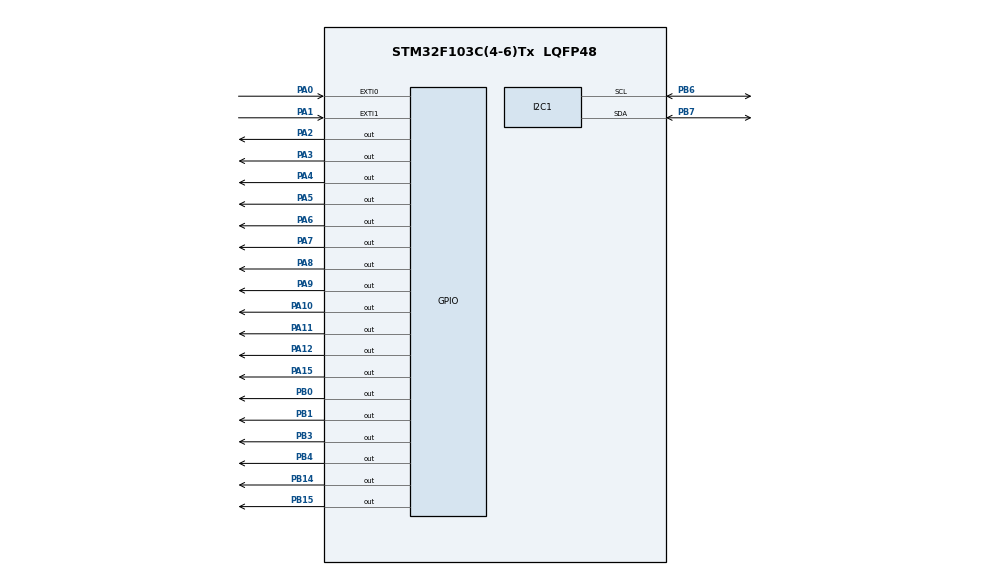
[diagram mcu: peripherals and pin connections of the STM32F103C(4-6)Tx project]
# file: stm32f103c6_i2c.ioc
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Mcu.Family=STM32F1
Mcu.Name=STM32F103C(4-6)Tx
Mcu.Package=LQFP48
NVIC.EXTI0_IRQn=true\:1\:0\:true\:false\:true\:true\:true\:true
NVIC.EXTI1_IRQn=true\:1\:0\:true\:false\:true\:true\:true\:true
NVIC.PriorityGroup=NVIC_PRIORITYGROUP_4
PA0-WKUP.Signal=GPXTI0
PA1.Signal=GPXTI1
PA10.Signal=GPIO_Output
PA11.Signal=GPIO_Output
PA12.Signal=GPIO_Output
PA13.Mode=Serial_Wire
PA13.Signal=SYS_JTMS-SWDIO
PA14.Mode=Serial_Wire
PA14.Signal=SYS_JTCK-SWCLK
PA15.Signal=GPIO_Output
PA2.Signal=GPIO_Output
PA3.Signal=GPIO_Output
PA4.Signal=GPIO_Output
PA5.Signal=GPIO_Output
PA6.Signal=GPIO_Output
PA7.Signal=GPIO_Output
PA8.Signal=GPIO_Output
PA9.Signal=GPIO_Output
PB0.Signal=GPIO_Output
PB1.Signal=GPIO_Output
PB14.Signal=GPIO_Output
PB15.Signal=GPIO_Output
PB3.Signal=GPIO_Output
PB4.Signal=GPIO_Output
PB6.Mode=I2C
PB6.Signal=I2C1_SCL
PB7.Mode=I2C
PB7.Signal=I2C1_SDA
PD0-OSC_IN.Mode=HSE-External-Oscillator
PD0-OSC_IN.Signal=RCC_OSC_IN
PD1-OSC_OUT.Mode=HSE-External-Oscillator
PD1-OSC_OUT.Signal=RCC_OSC_OUT
ProjectManager.HeapSize=0x200
ProjectManager.StackSize=0x400
ProjectManager.TargetToolchain=MDK-ARM V5
RCC.APB1Freq_Value=8000000
RCC.APB2Freq_Value=8000000
board=custom

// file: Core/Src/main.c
/* USER CODE BEGIN Header */
/**
  ******************************************************************************
  * @file           : main.c
  * @brief          : Main program body
  ******************************************************************************
  * @attention
  *
  * Copyright (c) 2024 STMicroelectronics.
  * All rights reserved.
  *
  * This software is licensed under terms that can be found in the LICENSE file
  * in the root directory of this software component.
  * If no LICENSE file comes with this software, it is provided AS-IS.
  *
  ******************************************************************************
  */
/* USER CODE END Header */
#include "main.h"
#include "stdio.h"
#include "lcd.h"

I2C_HandleTypeDef hi2c1;

/* USER CODE BEGIN PV */
//void Lcd_Write_Command(char maLenh);
//void Lcd_Wrtie_Data(char data);
//void Lcd_Cauhinh(void);
//void Lcd_Write_String(char *str);
/* USER CODE END PV */

void SystemClock_Config(void);
static void MX_GPIO_Init(void);
static void MX_I2C1_Init(void);
/* USER CODE BEGIN PFP */
int status = 0;
void display7Seg(int data);

int counter1;
int counter2;
enum ledColor{
	GREEN,
	YELLOW,
	RED
};
void sleep(){
	//turn off led 7
	HAL_GPIO_WritePin(GPIOB, GPIO_PIN_15, GPIO_PIN_RESET);
	HAL_GPIO_WritePin(GPIOB, GPIO_PIN_14, GPIO_PIN_RESET);
	HAL_GPIO_WritePin(GPIOB, GPIO_PIN_1, GPIO_PIN_RESET);
	HAL_GPIO_WritePin(GPIOB, GPIO_PIN_0, GPIO_PIN_RESET);
	while(1){

	//led yellow blink 1HZ
	HAL_GPIO_WritePin(GPIOA, GPIO_PIN_7, GPIO_PIN_RESET);//R1
	HAL_GPIO_WritePin(GPIOA, GPIO_PIN_6, GPIO_PIN_RESET);//Y1
	HAL_GPIO_WritePin(GPIOA, GPIO_PIN_5, GPIO_PIN_RESET);//G1
	HAL_GPIO_WritePin(GPIOA, GPIO_PIN_4, GPIO_PIN_RESET);//R2
	HAL_GPIO_WritePin(GPIOA, GPIO_PIN_3, GPIO_PIN_RESET);//Y2
	HAL_GPIO_WritePin(GPIOA, GPIO_PIN_2, GPIO_PIN_RESET);//G2
	HAL_Delay(500);
	HAL_GPIO_WritePin(GPIOA, GPIO_PIN_6, GPIO_PIN_SET);//Y1
	HAL_GPIO_WritePin(GPIOA, GPIO_PIN_3, GPIO_PIN_SET);//Y2
	HAL_Delay(500);
	}

}

void show_traffic(uint8_t BacK_Green1, uint8_t BacK_Yellow1,
	uint8_t BacK_Green2, uint8_t BacK_Yellow2){

	//set status led beginning
	uint8_t c_Green1 = BacK_Green1;
	uint8_t c_Yellow1 = BacK_Yellow1;
	uint8_t c_Red1 = BacK_Green1 + BacK_Yellow1;
	uint8_t BacK_Red1 = c_Red1;
	enum ledColor cur_color1 = GREEN;

	uint8_t c_Green2 = BacK_Green2;
	uint8_t c_Yellow2 = BacK_Yellow2;
	uint8_t c_Red2 = BacK_Green2 + BacK_Yellow2;
	uint8_t BacK_Red2 = c_Red2;
	enum ledColor cur_color2 = RED;

	uint8_t c_1s = BacK_Green1 + BacK_Red2 + 2;

	counter1 = BacK_Green1 - 1;
	counter2 = BacK_Red2 - 1;

	int sw_led = 0;

	HAL_GPIO_WritePin(GPIOA, GPIO_PIN_7, GPIO_PIN_RESET);//R1
	HAL_GPIO_WritePin(GPIOA, GPIO_PIN_5, GPIO_PIN_SET);//G1
	HAL_GPIO_WritePin(GPIOA, GPIO_PIN_6, GPIO_PIN_RESET);//Y1

	HAL_GPIO_WritePin(GPIOA, GPIO_PIN_4, GPIO_PIN_SET);//R2
	HAL_GPIO_WritePin(GPIOA, GPIO_PIN_2, GPIO_PIN_RESET);//G2
	HAL_GPIO_WritePin(GPIOA, GPIO_PIN_3, GPIO_PIN_RESET);//Y2

	while(1){
		//if(*sleep_mode == 22) break;
		//change green -> yellow
		if(c_Green1 <= 0){
			HAL_GPIO_WritePin(GPIOA, GPIO_PIN_7, GPIO_PIN_RESET);
			HAL_GPIO_WritePin(GPIOA, GPIO_PIN_5, GPIO_PIN_RESET);
			HAL_GPIO_WritePin(GPIOA, GPIO_PIN_6, GPIO_PIN_SET);
			c_Green1 = BacK_Green1;
			cur_color1 = YELLOW;
			counter1 = BacK_Yellow1 - 1;
		}
		//change yellow -> red
		if(c_Yellow1 <= 0){
			HAL_GPIO_WritePin(GPIOA, GPIO_PIN_7, GPIO_PIN_SET);
			HAL_GPIO_WritePin(GPIOA, GPIO_PIN_5, GPIO_PIN_RESET);
			HAL_GPIO_WritePin(GPIOA, GPIO_PIN_6, GPIO_PIN_RESET);
			c_Yellow1 = BacK_Yellow1;
			cur_color1 = RED;
			counter1 = BacK_Red1 - 1;
		}
		//change red -> green
		if(c_Red1 <= 0){
			HAL_GPIO_WritePin(GPIOA, GPIO_PIN_7, GPIO_PIN_RESET);
			HAL_GPIO_WritePin(GPIOA, GPIO_PIN_5, GPIO_PIN_SET);
			HAL_GPIO_WritePin(GPIOA, GPIO_PIN_6, GPIO_PIN_RESET);
			c_Red1 = BacK_Green1 + BacK_Yellow1;
			cur_color1 = GREEN;
			counter1 = BacK_Green1 - 1;
		}
		//Same as above
		if(c_Green2 <= 0){
			HAL_GPIO_WritePin(GPIOA, GPIO_PIN_4, GPIO_PIN_RESET);
			HAL_GPIO_WritePin(GPIOA, GPIO_PIN_2, GPIO_PIN_RESET);
			HAL_GPIO_WritePin(GPIOA, GPIO_PIN_3, GPIO_PIN_SET);
			c_Green2 = BacK_Green2 - 1;
			cur_color2 = YELLOW;
			counter2 = BacK_Yellow2 - 1;
		}
		if(c_Yellow2 <= 0){
			HAL_GPIO_WritePin(GPIOA, GPIO_PIN_4, GPIO_PIN_SET);
			HAL_GPIO_WritePin(GPIOA, GPIO_PIN_2, GPIO_PIN_RESET);
			HAL_GPIO_WritePin(GPIOA, GPIO_PIN_3, GPIO_PIN_RESET);
			c_Yellow2 =BacK_Yellow1 - 1;
			cur_color2 = RED;
			counter2 = BacK_Red2 - 1;
		}
		if(c_Red2 <= 0){
			HAL_GPIO_WritePin(GPIOA, GPIO_PIN_4, GPIO_PIN_RESET);
			HAL_GPIO_WritePin(GPIOA, GPIO_PIN_2, GPIO_PIN_SET);
			HAL_GPIO_WritePin(GPIOA, GPIO_PIN_3, GPIO_PIN_RESET);
			c_Red2 = BacK_Green2 + BacK_Yellow2;
			cur_color2 = GREEN;
			counter2 = BacK_Green2 - 1;
		}
		//count again when timer = 0
		if(c_1s <= 0){
			switch(cur_color1){
				case GREEN:
						c_Green1--;
						break;
				case YELLOW:
						c_Yellow1--;
						break;
				case RED:
						c_Red1--;
						break;
			}
			switch(cur_color2){
				case GREEN:
						c_Green2--;
						break;
				case YELLOW:
						c_Yellow2--;
						break;
				case RED:
						c_Red2--;
						break;
			}
			counter1--;
			counter2--;
			c_1s = BacK_Green1 + BacK_Red2 + 2;
		}
		//show time on led7
		switch(sw_led){
			case 0:
				HAL_GPIO_WritePin(GPIOB, GPIO_PIN_15, GPIO_PIN_RESET);//EN3
				HAL_GPIO_WritePin(GPIOB, GPIO_PIN_0, GPIO_PIN_SET);//EN0
				display7Seg(counter1/10);
				sw_led = 1;
				break;
			case 1:
				HAL_GPIO_WritePin(GPIOB, GPIO_PIN_0, GPIO_PIN_RESET);//EN0
				HAL_GPIO_WritePin(GPIOB, GPIO_PIN_1, GPIO_PIN_SET);//EN1
				display7Seg(counter1%10);
				sw_led = 2;
				break;
			case 2:
				HAL_GPIO_WritePin(GPIOB, GPIO_PIN_1, GPIO_PIN_RESET);//EN1
				HAL_GPIO_WritePin(GPIOB, GPIO_PIN_14, GPIO_PIN_SET);//EN2
				display7Seg(counter2/10);
				sw_led = 3;
				break;
			case 3:
				HAL_GPIO_WritePin(GPIOB, GPIO_PIN_14, GPIO_PIN_RESET);//EN2
				HAL_GPIO_WritePin(GPIOB, GPIO_PIN_15, GPIO_PIN_SET);//EN3
				display7Seg(counter2%10);
				sw_led = 0;
				break;
		}
		//minus 1 unit time
		c_1s--;
		HAL_Delay(5);
  }
	}

//awake external interrupt
void HAL_GPIO_EXTI_Callback(uint16_t GPIO_Pin)
{
  if(GPIO_Pin == GPIO_PIN_0)//mode Sleep
		{
		status = 0;
		lcd_put_cur(0, 0);
		lcd_send_string("Mode: Sleep                ");
		//HAL_Delay(10);
		lcd_put_cur(1, 0);
		lcd_send_string("Yellow blink 1HZ             ");
		sleep();
	}
	else if(GPIO_Pin == GPIO_PIN_1)//mode rush hour
		{
		status = 1;
		lcd_put_cur(0, 0);
		lcd_send_string("Mode: Rush                ");
		//HAL_Delay(10);
		lcd_put_cur(1, 0);
		lcd_send_string("R:36s G:32s Y:4s              ");
		show_traffic(32, 4, 32, 4);
	}
}

/* USER CODE END PFP */

int main(void)
{

  /* MCU Configuration--------------------------------------------------------*/

  /* Reset of all peripherals, Initializes the Flash interface and the Systick. */
  HAL_Init();

  /* Configure the system clock */
  SystemClock_Config();

  /* Initialize all configured peripherals */
  MX_GPIO_Init();
  MX_I2C1_Init();
  /* USER CODE BEGIN 2 */
	lcd_init();
	//mode normal
	lcd_put_cur(0, 0);
	lcd_send_string("Mode: Normal              ");
	//HAL_Delay(10);
	lcd_put_cur(1, 0);
	lcd_send_string("R:32s G:28s Y:4s          ");
	show_traffic(28, 4, 28, 4);
  /* USER CODE END 2 */

  /* Infinite loop */
  while (1)
  {

  }
}

//function show led7 0 -> 9
void display7Seg(int data){
	switch (data)
	{
		case 0:
			HAL_GPIO_WritePin(GPIOA, GPIO_PIN_8, GPIO_PIN_RESET);
			HAL_GPIO_WritePin(GPIOA, GPIO_PIN_9, GPIO_PIN_RESET);
			HAL_GPIO_WritePin(GPIOA, GPIO_PIN_10, GPIO_PIN_RESET);
			HAL_GPIO_WritePin(GPIOA, GPIO_PIN_11, GPIO_PIN_RESET);
			HAL_GPIO_WritePin(GPIOA, GPIO_PIN_12, GPIO_PIN_RESET);
			HAL_GPIO_WritePin(GPIOA, GPIO_PIN_15, GPIO_PIN_RESET);
			HAL_GPIO_WritePin(GPIOB, GPIO_PIN_3, GPIO_PIN_SET);
			HAL_GPIO_WritePin(GPIOB, GPIO_PIN_4, GPIO_PIN_SET);
			break;
		case 1:
			HAL_GPIO_WritePin(GPIOA, GPIO_PIN_8, GPIO_PIN_SET);
			HAL_GPIO_WritePin(GPIOA, GPIO_PIN_9, GPIO_PIN_RESET);
			HAL_GPIO_WritePin(GPIOA, GPIO_PIN_10, GPIO_PIN_RESET);
			HAL_GPIO_WritePin(GPIOA, GPIO_PIN_11, GPIO_PIN_SET);
			HAL_GPIO_WritePin(GPIOA, GPIO_PIN_12, GPIO_PIN_SET);
			HAL_GPIO_WritePin(GPIOA, GPIO_PIN_15, GPIO_PIN_SET);
			HAL_GPIO_WritePin(GPIOB, GPIO_PIN_3, GPIO_PIN_SET);
			HAL_GPIO_WritePin(GPIOB, GPIO_PIN_4, GPIO_PIN_SET);
			break;
		case 2:
			HAL_GPIO_WritePin(GPIOA, GPIO_PIN_8, GPIO_PIN_RESET);
			HAL_GPIO_WritePin(GPIOA, GPIO_PIN_9, GPIO_PIN_RESET);
			HAL_GPIO_WritePin(GPIOA, GPIO_PIN_10, GPIO_PIN_SET);
			HAL_GPIO_WritePin(GPIOA, GPIO_PIN_11, GPIO_PIN_RESET);
			HAL_GPIO_WritePin(GPIOA, GPIO_PIN_12, GPIO_PIN_RESET);
			HAL_GPIO_WritePin(GPIOA, GPIO_PIN_15, GPIO_PIN_SET);
			HAL_GPIO_WritePin(GPIOB, GPIO_PIN_3, GPIO_PIN_RESET);
			HAL_GPIO_WritePin(GPIOB, GPIO_PIN_4, GPIO_PIN_SET);
			break;
		case 3:
			HAL_GPIO_WritePin(GPIOA, GPIO_PIN_8, GPIO_PIN_RESET);
			HAL_GPIO_WritePin(GPIOA, GPIO_PIN_9, GPIO_PIN_RESET);
			HAL_GPIO_WritePin(GPIOA, GPIO_PIN_10, GPIO_PIN_RESET);
			HAL_GPIO_WritePin(GPIOA, GPIO_PIN_11, GPIO_PIN_RESET);
			HAL_GPIO_WritePin(GPIOA, GPIO_PIN_12, GPIO_PIN_SET);
			HAL_GPIO_WritePin(GPIOA, GPIO_PIN_15, GPIO_PIN_SET);
			HAL_GPIO_WritePin(GPIOB, GPIO_PIN_3, GPIO_PIN_RESET);
		  HAL_GPIO_WritePin(GPIOB, GPIO_PIN_4, GPIO_PIN_SET);
			break;
		case 4:
			HAL_GPIO_WritePin(GPIOA, GPIO_PIN_8, GPIO_PIN_SET);
			HAL_GPIO_WritePin(GPIOA, GPIO_PIN_9, GPIO_PIN_RESET);
			HAL_GPIO_WritePin(GPIOA, GPIO_PIN_10, GPIO_PIN_RESET);
			HAL_GPIO_WritePin(GPIOA, GPIO_PIN_11, GPIO_PIN_SET);
			HAL_GPIO_WritePin(GPIOA, GPIO_PIN_12, GPIO_PIN_SET);
			HAL_GPIO_WritePin(GPIOA, GPIO_PIN_15, GPIO_PIN_RESET);
			HAL_GPIO_WritePin(GPIOB, GPIO_PIN_3, GPIO_PIN_RESET);
			HAL_GPIO_WritePin(GPIOB, GPIO_PIN_4, GPIO_PIN_SET);
			break;
		case 5:
			HAL_GPIO_WritePin(GPIOA, GPIO_PIN_8, GPIO_PIN_RESET);
			HAL_GPIO_WritePin(GPIOA, GPIO_PIN_9, GPIO_PIN_SET);
			HAL_GPIO_WritePin(GPIOA, GPIO_PIN_10, GPIO_PIN_RESET);
			HAL_GPIO_WritePin(GPIOA, GPIO_PIN_11, GPIO_PIN_RESET);
			HAL_GPIO_WritePin(GPIOA, GPIO_PIN_12, GPIO_PIN_SET);
			HAL_GPIO_WritePin(GPIOA, GPIO_PIN_15, GPIO_PIN_RESET);
			HAL_GPIO_WritePin(GPIOB, GPIO_PIN_3, GPIO_PIN_RESET);
			HAL_GPIO_WritePin(GPIOB, GPIO_PIN_4, GPIO_PIN_SET);
			break;
		case 6:
			HAL_GPIO_WritePin(GPIOA, GPIO_PIN_8, GPIO_PIN_RESET);
			HAL_GPIO_WritePin(GPIOA, GPIO_PIN_9, GPIO_PIN_SET);
			HAL_GPIO_WritePin(GPIOA, GPIO_PIN_10, GPIO_PIN_RESET);
			HAL_GPIO_WritePin(GPIOA, GPIO_PIN_11, GPIO_PIN_RESET);
			HAL_GPIO_WritePin(GPIOA, GPIO_PIN_12, GPIO_PIN_RESET);
			HAL_GPIO_WritePin(GPIOA, GPIO_PIN_15, GPIO_PIN_RESET);
			HAL_GPIO_WritePin(GPIOB, GPIO_PIN_3, GPIO_PIN_RESET);
			HAL_GPIO_WritePin(GPIOB, GPIO_PIN_4, GPIO_PIN_SET);
			break;
	 case 7:
			HAL_GPIO_WritePin(GPIOA, GPIO_PIN_8, GPIO_PIN_RESET);
			HAL_GPIO_WritePin(GPIOA, GPIO_PIN_9, GPIO_PIN_RESET);
			HAL_GPIO_WritePin(GPIOA, GPIO_PIN_10, GPIO_PIN_RESET);
			HAL_GPIO_WritePin(GPIOA, GPIO_PIN_11, GPIO_PIN_SET);
			HAL_GPIO_WritePin(GPIOA, GPIO_PIN_12, GPIO_PIN_SET);
			HAL_GPIO_WritePin(GPIOA, GPIO_PIN_15, GPIO_PIN_SET);
			HAL_GPIO_WritePin(GPIOB, GPIO_PIN_3, GPIO_PIN_SET);
			HAL_GPIO_WritePin(GPIOB, GPIO_PIN_4, GPIO_PIN_SET);
			break;
		case 8:
			HAL_GPIO_WritePin(GPIOA, GPIO_PIN_8, GPIO_PIN_RESET);
			HAL_GPIO_WritePin(GPIOA, GPIO_PIN_9, GPIO_PIN_RESET);
			HAL_GPIO_WritePin(GPIOA, GPIO_PIN_10, GPIO_PIN_RESET);
			HAL_GPIO_WritePin(GPIOA, GPIO_PIN_11, GPIO_PIN_RESET);
			HAL_GPIO_WritePin(GPIOA, GPIO_PIN_12, GPIO_PIN_RESET);
			HAL_GPIO_WritePin(GPIOA, GPIO_PIN_15, GPIO_PIN_RESET);
			HAL_GPIO_WritePin(GPIOB, GPIO_PIN_3, GPIO_PIN_RESET);
			HAL_GPIO_WritePin(GPIOB, GPIO_PIN_4, GPIO_PIN_SET);
			break;
		case 9:
			HAL_GPIO_WritePin(GPIOA, GPIO_PIN_8, GPIO_PIN_RESET);
			HAL_GPIO_WritePin(GPIOA, GPIO_PIN_9, GPIO_PIN_RESET);
			HAL_GPIO_WritePin(GPIOA, GPIO_PIN_10, GPIO_PIN_RESET);
			HAL_GPIO_WritePin(GPIOA, GPIO_PIN_11, GPIO_PIN_RESET);
			HAL_GPIO_WritePin(GPIOA, GPIO_PIN_12, GPIO_PIN_SET);
			HAL_GPIO_WritePin(GPIOA, GPIO_PIN_15, GPIO_PIN_RESET);
			HAL_GPIO_WritePin(GPIOB, GPIO_PIN_3, GPIO_PIN_RESET);
			HAL_GPIO_WritePin(GPIOB, GPIO_PIN_4, GPIO_PIN_SET);
			break;
	}
}
void SystemClock_Config(void)
{
  RCC_OscInitTypeDef RCC_OscInitStruct = {0};
  RCC_ClkInitTypeDef RCC_ClkInitStruct = {0};

  /** Initializes the RCC Oscillators according to the specified parameters
  * in the RCC_OscInitTypeDef structure.
  */
  RCC_OscInitStruct.OscillatorType = RCC_OSCILLATORTYPE_HSI;
  RCC_OscInitStruct.HSIState = RCC_HSI_ON;
  RCC_OscInitStruct.HSICalibrationValue = RCC_HSICALIBRATION_DEFAULT;
  RCC_OscInitStruct.PLL.PLLState = RCC_PLL_NONE;
  if (HAL_RCC_OscConfig(&RCC_OscInitStruct) != HAL_OK)
  {
    Error_Handler();
  }

  /** Initializes the CPU, AHB and APB buses clocks
  */
  RCC_ClkInitStruct.ClockType = RCC_CLOCKTYPE_HCLK|RCC_CLOCKTYPE_SYSCLK
                              |RCC_CLOCKTYPE_PCLK1|RCC_CLOCKTYPE_PCLK2;
  RCC_ClkInitStruct.SYSCLKSource = RCC_SYSCLKSOURCE_HSI;
  RCC_ClkInitStruct.AHBCLKDivider = RCC_SYSCLK_DIV1;
  RCC_ClkInitStruct.APB1CLKDivider = RCC_HCLK_DIV1;
  RCC_ClkInitStruct.APB2CLKDivider = RCC_HCLK_DIV1;

  if (HAL_RCC_ClockConfig(&RCC_ClkInitStruct, FLASH_LATENCY_0) != HAL_OK)
  {
    Error_Handler();
  }
}

static void MX_I2C1_Init(void)
{

  hi2c1.Instance = I2C1;
  hi2c1.Init.ClockSpeed = 100000;
  hi2c1.Init.DutyCycle = I2C_DUTYCYCLE_2;
  hi2c1.Init.OwnAddress1 = 0;
  hi2c1.Init.AddressingMode = I2C_ADDRESSINGMODE_7BIT;
  hi2c1.Init.DualAddressMode = I2C_DUALADDRESS_DISABLE;
  hi2c1.Init.OwnAddress2 = 0;
  hi2c1.Init.GeneralCallMode = I2C_GENERALCALL_DISABLE;
  hi2c1.Init.NoStretchMode = I2C_NOSTRETCH_DISABLE;
  if (HAL_I2C_Init(&hi2c1) != HAL_OK)
  {
    Error_Handler();
  }

}

static void MX_GPIO_Init(void)
{
  GPIO_InitTypeDef GPIO_InitStruct = {0};

  /* GPIO Ports Clock Enable */
  __HAL_RCC_GPIOD_CLK_ENABLE();
  __HAL_RCC_GPIOA_CLK_ENABLE();
  __HAL_RCC_GPIOB_CLK_ENABLE();

  /*Configure GPIO pin Output Level */
  HAL_GPIO_WritePin(GPIOA, GPIO_PIN_2|GPIO_PIN_3|GPIO_PIN_4|GPIO_PIN_5
                          |GPIO_PIN_6|GPIO_PIN_7|GPIO_PIN_8|GPIO_PIN_9
                          |GPIO_PIN_10|GPIO_PIN_11|GPIO_PIN_12|GPIO_PIN_15, GPIO_PIN_RESET);

  /*Configure GPIO pin Output Level */
  HAL_GPIO_WritePin(GPIOB, GPIO_PIN_0|GPIO_PIN_1|GPIO_PIN_14|GPIO_PIN_15
                          |GPIO_PIN_3|GPIO_PIN_4, GPIO_PIN_RESET);

  /*Configure GPIO pins : PA0 PA1 */
  GPIO_InitStruct.Pin = GPIO_PIN_0|GPIO_PIN_1;
  GPIO_InitStruct.Mode = GPIO_MODE_IT_RISING;
  GPIO_InitStruct.Pull = GPIO_NOPULL;
  HAL_GPIO_Init(GPIOA, &GPIO_InitStruct);

  /*Configure GPIO pins : PA2 PA3 PA4 PA5
                           PA6 PA7 PA8 PA9
                           PA10 PA11 PA12 PA15 */
  GPIO_InitStruct.Pin = GPIO_PIN_2|GPIO_PIN_3|GPIO_PIN_4|GPIO_PIN_5
                          |GPIO_PIN_6|GPIO_PIN_7|GPIO_PIN_8|GPIO_PIN_9
                          |GPIO_PIN_10|GPIO_PIN_11|GPIO_PIN_12|GPIO_PIN_15;
  GPIO_InitStruct.Mode = GPIO_MODE_OUTPUT_PP;
  GPIO_InitStruct.Pull = GPIO_NOPULL;
  GPIO_InitStruct.Speed = GPIO_SPEED_FREQ_LOW;
  HAL_GPIO_Init(GPIOA, &GPIO_InitStruct);

  /*Configure GPIO pins : PB0 PB1 PB14 PB15
                           PB3 PB4 */
  GPIO_InitStruct.Pin = GPIO_PIN_0|GPIO_PIN_1|GPIO_PIN_14|GPIO_PIN_15
                          |GPIO_PIN_3|GPIO_PIN_4;
  GPIO_InitStruct.Mode = GPIO_MODE_OUTPUT_PP;
  GPIO_InitStruct.Pull = GPIO_NOPULL;
  GPIO_InitStruct.Speed = GPIO_SPEED_FREQ_LOW;
  HAL_GPIO_Init(GPIOB, &GPIO_InitStruct);

  /* EXTI interrupt init*/
  HAL_NVIC_SetPriority(EXTI0_IRQn, 1, 0);
  HAL_NVIC_EnableIRQ(EXTI0_IRQn);

  HAL_NVIC_SetPriority(EXTI1_IRQn, 1, 0);
  HAL_NVIC_EnableIRQ(EXTI1_IRQn);

}

void Error_Handler(void)
{
  __disable_irq();
  while (1)
  {
  }
}
